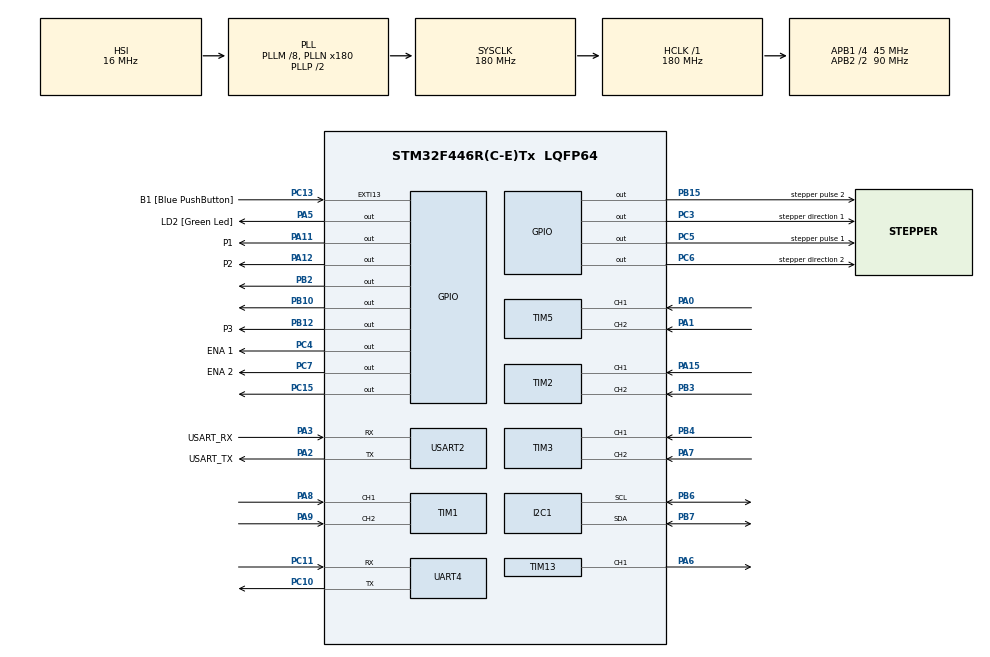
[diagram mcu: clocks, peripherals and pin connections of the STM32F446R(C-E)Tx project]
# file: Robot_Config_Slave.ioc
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Dma.Request0=UART4_RX
Dma.UART4_RX.0.Direction=DMA_PERIPH_TO_MEMORY
Dma.UART4_RX.0.FIFOMode=DMA_FIFOMODE_DISABLE
Dma.UART4_RX.0.Instance=DMA1_Stream2
Dma.UART4_RX.0.MemDataAlignment=DMA_MDATAALIGN_BYTE
Dma.UART4_RX.0.MemInc=DMA_MINC_ENABLE
Dma.UART4_RX.0.Mode=DMA_CIRCULAR
Dma.UART4_RX.0.PeriphDataAlignment=DMA_PDATAALIGN_BYTE
Dma.UART4_RX.0.PeriphInc=DMA_PINC_DISABLE
Dma.UART4_RX.0.Priority=DMA_PRIORITY_LOW
I2C1.I2C_Mode=I2C_Fast
Mcu.Family=STM32F4
Mcu.Name=STM32F446R(C-E)Tx
Mcu.Package=LQFP64
NVIC.DMA1_Stream2_IRQn=true\:0\:0\:false\:false\:true\:false\:true\:true
NVIC.PriorityGroup=NVIC_PRIORITYGROUP_0
NVIC.UART4_IRQn=true\:0\:0\:false\:false\:true\:true\:true\:true
PA0-WKUP.GPIO_PuPd=GPIO_PULLUP
PA0-WKUP.Signal=S_TIM5_CH1
PA1.GPIO_PuPd=GPIO_PULLUP
PA1.Signal=S_TIM5_CH2
PA11.GPIO_Label=P1
PA11.Signal=GPIO_Output
PA12.GPIO_Label=P2
PA12.Signal=GPIO_Output
PA13.GPIO_Label=TMS
PA13.Mode=Serial_Wire
PA13.Signal=SYS_JTMS-SWDIO
PA14.GPIO_Label=TCK
PA14.Mode=Serial_Wire
PA14.Signal=SYS_JTCK-SWCLK
PA15.GPIO_PuPd=GPIO_PULLUP
PA15.Signal=S_TIM2_CH1_ETR
PA2.GPIO_Label=USART_TX
PA2.Mode=Asynchronous
PA2.Signal=USART2_TX
PA3.GPIO_Label=USART_RX
PA3.Mode=Asynchronous
PA3.Signal=USART2_RX
PA5.GPIO_Label=LD2 [Green Led]
PA5.Signal=GPIO_Output
PA6.Signal=S_TIM13_CH1
PA7.GPIO_PuPd=GPIO_PULLUP
PA7.Signal=S_TIM3_CH2
PA8.GPIO_PuPd=GPIO_PULLUP
PA8.Signal=S_TIM1_CH1
PA9.GPIO_PuPd=GPIO_PULLUP
PA9.Signal=S_TIM1_CH2
PB10.Signal=GPIO_Output
PB12.GPIO_Label=P3
PB12.Signal=GPIO_Output
PB15.GPIO_Label=stepper pulse 2
PB15.Signal=GPIO_Output
PB2.Signal=GPIO_Output
PB3.GPIO_PuPd=GPIO_PULLUP
PB3.Signal=S_TIM2_CH2
PB4.GPIO_PuPd=GPIO_PULLUP
PB4.Signal=S_TIM3_CH1
PB6.Mode=I2C
PB6.Signal=I2C1_SCL
PB7.Mode=I2C
PB7.Signal=I2C1_SDA
PC10.Mode=Asynchronous
PC10.Signal=UART4_TX
PC11.Mode=Asynchronous
PC11.Signal=UART4_RX
PC13.GPIO_Label=B1 [Blue PushButton]
PC13.GPIO_ModeDefaultEXTI=GPIO_MODE_IT_FALLING
PC13.Signal=GPXTI13
PC14-OSC32_IN.Signal=RCC_OSC32_IN
PC15-OSC32_OUT.Signal=GPIO_Output
PC3.GPIO_Label=stepper direction 1
PC3.Signal=GPIO_Output
PC4.GPIO_Label=ENA 1
PC4.Signal=GPIO_Output
PC5.GPIO_Label=stepper pulse 1
PC5.Signal=GPIO_Output
PC6.GPIO_Label=stepper direction 2
PC6.Signal=GPIO_Output
PC7.GPIO_Label=ENA 2
PC7.Signal=GPIO_Output
PH0-OSC_IN.Mode=HSE-External-Oscillator
PH0-OSC_IN.Signal=RCC_OSC_IN
PH1-OSC_OUT.Mode=HSE-External-Oscillator
PH1-OSC_OUT.Signal=RCC_OSC_OUT
ProjectManager.HeapSize=0x200
ProjectManager.StackSize=0x400
ProjectManager.TargetToolchain=STM32CubeIDE
RCC.48MHZClocksFreq_Value=84000000
RCC.AHBFreq_Value=180000000
RCC.APB1CLKDivider=RCC_HCLK_DIV4
RCC.APB1Freq_Value=45000000
RCC.APB1TimFreq_Value=90000000
RCC.APB2CLKDivider=RCC_HCLK_DIV2
RCC.APB2Freq_Value=90000000
RCC.APB2TimFreq_Value=180000000
RCC.CortexFreq_Value=180000000
RCC.FLatency-AdvancedSettings=FLASH_LATENCY_5
RCC.HCLKFreq_Value=180000000
RCC.HSE_VALUE=8000000
RCC.HSI_VALUE=16000000
RCC.PLLM=8
RCC.PLLN=180
RCC.SYSCLKFreq_VALUE=180000000
RCC.SYSCLKSource=RCC_SYSCLKSOURCE_PLLCLK
RCC.USBFreq_Value=180000000
RCC.VCOOutputFreq_Value=360000000
SH.S_TIM13_CH1.0=TIM13_CH1,PWM Generation1 CH1
SH.S_TIM1_CH1.0=TIM1_CH1,Encoder_Interface
SH.S_TIM1_CH2.0=TIM1_CH2,Encoder_Interface
SH.S_TIM2_CH1_ETR.0=TIM2_CH1,Encoder_Interface
SH.S_TIM2_CH2.0=TIM2_CH2,Encoder_Interface
SH.S_TIM3_CH1.0=TIM3_CH1,Encoder_Interface
SH.S_TIM3_CH2.0=TIM3_CH2,Encoder_Interface
SH.S_TIM5_CH1.0=TIM5_CH1,Encoder_Interface
SH.S_TIM5_CH2.0=TIM5_CH2,Encoder_Interface
TIM13.Channel=TIM_CHANNEL_1
TIM13.Period=999
TIM13.Prescaler=179
TIM8.Channel-PWM\ Generation1\ CH1=TIM_CHANNEL_1
TIM8.Period=1000-1
TIM8.Prescaler=180-1
UART4.VirtualMode=Asynchronous
USART2.VirtualMode=VM_ASYNC
VP_TIM13_VS_ClockSourceINT.Mode=Enable_Timer
VP_TIM8_VS_ClockSourceINT.Mode=Internal
board=NUCLEO-F446RE

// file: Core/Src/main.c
/* USER CODE BEGIN Header */
/**
 ******************************************************************************
 * @file           : main.c
 * @brief          : Main program body
 ******************************************************************************
 * @attention
 *
 * Copyright (c) 2025 STMicroelectronics.
 * All rights reserved.
 *
 * This software is licensed under terms that can be found in the LICENSE file
 * in the root directory of this software component.
 * If no LICENSE file comes with this software, it is provided AS-IS.
 *
 ******************************************************************************
 */
/* USER CODE END Header */
#include "main.h"

I2C_HandleTypeDef hi2c1;

TIM_HandleTypeDef htim1;
TIM_HandleTypeDef htim2;
TIM_HandleTypeDef htim3;
TIM_HandleTypeDef htim5;
TIM_HandleTypeDef htim8;
TIM_HandleTypeDef htim13;

UART_HandleTypeDef huart4;
UART_HandleTypeDef huart2;
DMA_HandleTypeDef hdma_uart4_rx;

/* USER CODE BEGIN PV */
// communication buffer
char rxbuff[14];

// controller
int32_t cro, squ, tri, cir, up, down, left, right, ll1, rr1, ll2, rr2, rL, rR;

// stepper
static uint32_t last_step_time = 0;
static uint32_t last_step_time1 = 0;
static int step_state = 0;
static int step_state1 = 0;
static int direction1 = 1;
int step_delay = 1;
int step_delay1 = 5;
static int stepper_running = 0;  // Toggle flag
static int stepper_running1 = 0;  // Toggle flag
static int ebike_running = 0;  // Toggle flag
static int prev_cir = 0;
static int prev_tri = 0;
static int prev_cro = 0;
static int prev_ll1 = 0;
static int prev_rr1 = 0;

// imu
float yaw = 0, pitch = 0, q0 = 0, q1 = 0, q2 = 0, q3 = 0; //yaw and pitched are physically interchanged because of imu orientation

// odometry
volatile float x = 0.0f; // mm
volatile float y = 0.0f; // mm`
volatile float theta = 0.0f; // radians

// Global variables
float x_global = 0.0f;      // Global X position (meters)
float y_global = 0.0f;      // Global Y position (meters)
/* USER CODE END PV */

void SystemClock_Config(void);
static void MX_GPIO_Init(void);
static void MX_DMA_Init(void);
static void MX_USART2_UART_Init(void);
static void MX_UART4_Init(void);
static void MX_TIM1_Init(void);
static void MX_TIM8_Init(void);
static void MX_I2C1_Init(void);
static void MX_TIM5_Init(void);
static void MX_TIM13_Init(void);
static void MX_TIM2_Init(void);
static void MX_TIM3_Init(void);

/* USER CODE BEGIN 0 */
void HAL_UART_RxCpltCallback(UART_HandleTypeDef *huart) {
	HAL_UART_Receive_DMA(&huart4, rxbuff, 14);
}
/* USER CODE END 0 */

int main(void)
{

  /* MCU Configuration--------------------------------------------------------*/

  /* Reset of all peripherals, Initializes the Flash interface and the Systick. */
  HAL_Init();

  /* Configure the system clock */
  SystemClock_Config();

  /* Initialize all configured peripherals */
  MX_GPIO_Init();
  MX_DMA_Init();
  MX_USART2_UART_Init();
  MX_UART4_Init();
  MX_TIM1_Init();
  MX_TIM8_Init();
  MX_I2C1_Init();
  MX_TIM5_Init();
  MX_TIM13_Init();
  MX_TIM2_Init();
  MX_TIM3_Init();
  /* USER CODE BEGIN 2 */
	HAL_UART_Receive_DMA(&huart4, rxbuff, 14);
  /* USER CODE END 2 */

  /* Infinite loop */
	while (1) {

    /* USER CODE BEGIN 3 */
		/* Communication */
		// reading buffer
//		cro = (int8_t) rxbuff[0];
//		squ = (int8_t) rxbuff[1];
//		tri = (int8_t) rxbuff[2];
//		cir = (int8_t) rxbuff[3];
//		up = (int8_t) rxbuff[4];
//		down = (int8_t) rxbuff[5];
//		left = (int8_t) rxbuff[6];
//		right = (int8_t) rxbuff[7];
//		ll1 = (int8_t) rxbuff[8];
//		rr1 = (int8_t) rxbuff[9];
//		ll2 = (int8_t) rxbuff[10];
//		rr2 = (int8_t) rxbuff[11];
//		rL = (int8_t) rxbuff[12];
//		rR = (int8_t) rxbuff[13];
//
//		// print buffer
//		printf("%d %d %d %d %d %d %d %d %d %d %d %d %d\r\n", cro, squ, tri, cir, up, down, left, right, ll1, rr1, ll2, rr2, rL, rR);

		/* Stepper */
//		stepper_running  = 1;
//		stepper_running1 = 1;
		direction1 = 1;
		HAL_GPIO_WritePin(GPIOC, GPIO_PIN_3,
				direction1 ? GPIO_PIN_SET : GPIO_PIN_RESET);
		HAL_GPIO_WritePin(GPIOC, GPIO_PIN_6,
				!direction1 ? GPIO_PIN_SET : GPIO_PIN_RESET);

		if (ll1 == 1 && !prev_ll1) {  // LL1 button pressed
			direction1 = 1;  // Set to Anti-clockwise
			stepper_running = 1;
			stepper_running1 = 1;
		}
		if (rr1 == 1 && !prev_rr1) {  // RR1 button pressed
			direction1 = 0;  // Set to Clockwise
			stepper_running = 1;
			stepper_running1 = 1;
		}
		if (cir == 1 && !prev_cir) {
			stepper_running = 0;
			stepper_running1 = 0;
		}
		prev_ll1 = ll1;
		prev_rr1 = rr1;
		prev_cir = cir;
		if (stepper_running && (HAL_GetTick() - last_step_time) >= step_delay) {
			last_step_time = HAL_GetTick(); // Update last step time

			if (step_state == 0) {
				HAL_GPIO_WritePin(GPIOC, GPIO_PIN_5, GPIO_PIN_SET); // Step HIGH
				step_state = 1;
			} else {
				HAL_GPIO_WritePin(GPIOC, GPIO_PIN_5, GPIO_PIN_RESET); // Step LOW
				step_state = 0;
			}
		}
		if (stepper_running1
				&& (HAL_GetTick() - last_step_time1) >= step_delay1) {
			last_step_time1 = HAL_GetTick(); // Update last step time

			if (step_state1 == 0) {
				HAL_GPIO_WritePin(GPIOB, GPIO_PIN_15, GPIO_PIN_SET); // Step HIGH
				step_state1 = 1;
			} else {
				HAL_GPIO_WritePin(GPIOB, GPIO_PIN_15, GPIO_PIN_RESET); // Step LOW
				step_state1 = 0;
			}
		}

		/* Dribbling */
		if (tri == 1 && !prev_tri) {
			ebike_running = 1;
		}
		if (cro == 1 && !prev_cro) {  // cro button pressed
			printf("cross pressed");
			direction1 = 0;  // Set to Clockwise
			ebike_running = 0;
		}
		prev_tri = tri;
		prev_cro = cro;
		if (ebike_running) {
			HAL_GPIO_WritePin(GPIOC, GPIO_PIN_15, 1);
			TIM13->CCR1 = (1350 * 999) / 3500;  //rpm 2000 test
			HAL_TIM_PWM_Start(&htim13, TIM_CHANNEL_1);
		} else {
			//			HAL_GPIO_WritePin(GPIOC, GPIO_PIN_15, 1);
			TIM13->CCR1 = (0 * 999) / 3500;
			HAL_TIM_PWM_Start(&htim13, TIM_CHANNEL_1);
		}
	}
  /* USER CODE END 3 */
}

void SystemClock_Config(void)
{
  RCC_OscInitTypeDef RCC_OscInitStruct = {0};
  RCC_ClkInitTypeDef RCC_ClkInitStruct = {0};

  /** Configure the main internal regulator output voltage
  */
  __HAL_RCC_PWR_CLK_ENABLE();
  __HAL_PWR_VOLTAGESCALING_CONFIG(PWR_REGULATOR_VOLTAGE_SCALE1);

  /** Initializes the RCC Oscillators according to the specified parameters
  * in the RCC_OscInitTypeDef structure.
  */
  RCC_OscInitStruct.OscillatorType = RCC_OSCILLATORTYPE_HSI;
  RCC_OscInitStruct.HSIState = RCC_HSI_ON;
  RCC_OscInitStruct.HSICalibrationValue = RCC_HSICALIBRATION_DEFAULT;
  RCC_OscInitStruct.PLL.PLLState = RCC_PLL_ON;
  RCC_OscInitStruct.PLL.PLLSource = RCC_PLLSOURCE_HSI;
  RCC_OscInitStruct.PLL.PLLM = 8;
  RCC_OscInitStruct.PLL.PLLN = 180;
  RCC_OscInitStruct.PLL.PLLP = RCC_PLLP_DIV2;
  RCC_OscInitStruct.PLL.PLLQ = 2;
  RCC_OscInitStruct.PLL.PLLR = 2;
  if (HAL_RCC_OscConfig(&RCC_OscInitStruct) != HAL_OK)
  {
    Error_Handler();
  }

  /** Activate the Over-Drive mode
  */
  if (HAL_PWREx_EnableOverDrive() != HAL_OK)
  {
    Error_Handler();
  }

  /** Initializes the CPU, AHB and APB buses clocks
  */
  RCC_ClkInitStruct.ClockType = RCC_CLOCKTYPE_HCLK|RCC_CLOCKTYPE_SYSCLK
                              |RCC_CLOCKTYPE_PCLK1|RCC_CLOCKTYPE_PCLK2;
  RCC_ClkInitStruct.SYSCLKSource = RCC_SYSCLKSOURCE_PLLCLK;
  RCC_ClkInitStruct.AHBCLKDivider = RCC_SYSCLK_DIV1;
  RCC_ClkInitStruct.APB1CLKDivider = RCC_HCLK_DIV4;
  RCC_ClkInitStruct.APB2CLKDivider = RCC_HCLK_DIV2;

  if (HAL_RCC_ClockConfig(&RCC_ClkInitStruct, FLASH_LATENCY_5) != HAL_OK)
  {
    Error_Handler();
  }
}

static void MX_I2C1_Init(void)
{

  hi2c1.Instance = I2C1;
  hi2c1.Init.ClockSpeed = 400000;
  hi2c1.Init.DutyCycle = I2C_DUTYCYCLE_2;
  hi2c1.Init.OwnAddress1 = 0;
  hi2c1.Init.AddressingMode = I2C_ADDRESSINGMODE_7BIT;
  hi2c1.Init.DualAddressMode = I2C_DUALADDRESS_DISABLE;
  hi2c1.Init.OwnAddress2 = 0;
  hi2c1.Init.GeneralCallMode = I2C_GENERALCALL_DISABLE;
  hi2c1.Init.NoStretchMode = I2C_NOSTRETCH_DISABLE;
  if (HAL_I2C_Init(&hi2c1) != HAL_OK)
  {
    Error_Handler();
  }

}

static void MX_TIM1_Init(void)
{

  TIM_Encoder_InitTypeDef sConfig = {0};
  TIM_MasterConfigTypeDef sMasterConfig = {0};

  htim1.Instance = TIM1;
  htim1.Init.Prescaler = 0;
  htim1.Init.CounterMode = TIM_COUNTERMODE_UP;
  htim1.Init.Period = 65535;
  htim1.Init.ClockDivision = TIM_CLOCKDIVISION_DIV1;
  htim1.Init.RepetitionCounter = 0;
  htim1.Init.AutoReloadPreload = TIM_AUTORELOAD_PRELOAD_DISABLE;
  sConfig.EncoderMode = TIM_ENCODERMODE_TI1;
  sConfig.IC1Polarity = TIM_ICPOLARITY_RISING;
  sConfig.IC1Selection = TIM_ICSELECTION_DIRECTTI;
  sConfig.IC1Prescaler = TIM_ICPSC_DIV1;
  sConfig.IC1Filter = 0;
  sConfig.IC2Polarity = TIM_ICPOLARITY_RISING;
  sConfig.IC2Selection = TIM_ICSELECTION_DIRECTTI;
  sConfig.IC2Prescaler = TIM_ICPSC_DIV1;
  sConfig.IC2Filter = 0;
  if (HAL_TIM_Encoder_Init(&htim1, &sConfig) != HAL_OK)
  {
    Error_Handler();
  }
  sMasterConfig.MasterOutputTrigger = TIM_TRGO_RESET;
  sMasterConfig.MasterSlaveMode = TIM_MASTERSLAVEMODE_DISABLE;
  if (HAL_TIMEx_MasterConfigSynchronization(&htim1, &sMasterConfig) != HAL_OK)
  {
    Error_Handler();
  }

}

static void MX_TIM2_Init(void)
{

  TIM_Encoder_InitTypeDef sConfig = {0};
  TIM_MasterConfigTypeDef sMasterConfig = {0};

  htim2.Instance = TIM2;
  htim2.Init.Prescaler = 0;
  htim2.Init.CounterMode = TIM_COUNTERMODE_UP;
  htim2.Init.Period = 4294967295;
  htim2.Init.ClockDivision = TIM_CLOCKDIVISION_DIV1;
  htim2.Init.AutoReloadPreload = TIM_AUTORELOAD_PRELOAD_DISABLE;
  sConfig.EncoderMode = TIM_ENCODERMODE_TI1;
  sConfig.IC1Polarity = TIM_ICPOLARITY_RISING;
  sConfig.IC1Selection = TIM_ICSELECTION_DIRECTTI;
  sConfig.IC1Prescaler = TIM_ICPSC_DIV1;
  sConfig.IC1Filter = 0;
  sConfig.IC2Polarity = TIM_ICPOLARITY_RISING;
  sConfig.IC2Selection = TIM_ICSELECTION_DIRECTTI;
  sConfig.IC2Prescaler = TIM_ICPSC_DIV1;
  sConfig.IC2Filter = 0;
  if (HAL_TIM_Encoder_Init(&htim2, &sConfig) != HAL_OK)
  {
    Error_Handler();
  }
  sMasterConfig.MasterOutputTrigger = TIM_TRGO_RESET;
  sMasterConfig.MasterSlaveMode = TIM_MASTERSLAVEMODE_DISABLE;
  if (HAL_TIMEx_MasterConfigSynchronization(&htim2, &sMasterConfig) != HAL_OK)
  {
    Error_Handler();
  }

}

static void MX_TIM3_Init(void)
{

  TIM_Encoder_InitTypeDef sConfig = {0};
  TIM_MasterConfigTypeDef sMasterConfig = {0};

  htim3.Instance = TIM3;
  htim3.Init.Prescaler = 0;
  htim3.Init.CounterMode = TIM_COUNTERMODE_UP;
  htim3.Init.Period = 65535;
  htim3.Init.ClockDivision = TIM_CLOCKDIVISION_DIV1;
  htim3.Init.AutoReloadPreload = TIM_AUTORELOAD_PRELOAD_DISABLE;
  sConfig.EncoderMode = TIM_ENCODERMODE_TI1;
  sConfig.IC1Polarity = TIM_ICPOLARITY_RISING;
  sConfig.IC1Selection = TIM_ICSELECTION_DIRECTTI;
  sConfig.IC1Prescaler = TIM_ICPSC_DIV1;
  sConfig.IC1Filter = 0;
  sConfig.IC2Polarity = TIM_ICPOLARITY_RISING;
  sConfig.IC2Selection = TIM_ICSELECTION_DIRECTTI;
  sConfig.IC2Prescaler = TIM_ICPSC_DIV1;
  sConfig.IC2Filter = 0;
  if (HAL_TIM_Encoder_Init(&htim3, &sConfig) != HAL_OK)
  {
    Error_Handler();
  }
  sMasterConfig.MasterOutputTrigger = TIM_TRGO_RESET;
  sMasterConfig.MasterSlaveMode = TIM_MASTERSLAVEMODE_DISABLE;
  if (HAL_TIMEx_MasterConfigSynchronization(&htim3, &sMasterConfig) != HAL_OK)
  {
    Error_Handler();
  }

}

static void MX_TIM5_Init(void)
{

  TIM_Encoder_InitTypeDef sConfig = {0};
  TIM_MasterConfigTypeDef sMasterConfig = {0};

  htim5.Instance = TIM5;
  htim5.Init.Prescaler = 0;
  htim5.Init.CounterMode = TIM_COUNTERMODE_UP;
  htim5.Init.Period = 4294967295;
  htim5.Init.ClockDivision = TIM_CLOCKDIVISION_DIV1;
  htim5.Init.AutoReloadPreload = TIM_AUTORELOAD_PRELOAD_DISABLE;
  sConfig.EncoderMode = TIM_ENCODERMODE_TI1;
  sConfig.IC1Polarity = TIM_ICPOLARITY_RISING;
  sConfig.IC1Selection = TIM_ICSELECTION_DIRECTTI;
  sConfig.IC1Prescaler = TIM_ICPSC_DIV1;
  sConfig.IC1Filter = 0;
  sConfig.IC2Polarity = TIM_ICPOLARITY_RISING;
  sConfig.IC2Selection = TIM_ICSELECTION_DIRECTTI;
  sConfig.IC2Prescaler = TIM_ICPSC_DIV1;
  sConfig.IC2Filter = 0;
  if (HAL_TIM_Encoder_Init(&htim5, &sConfig) != HAL_OK)
  {
    Error_Handler();
  }
  sMasterConfig.MasterOutputTrigger = TIM_TRGO_RESET;
  sMasterConfig.MasterSlaveMode = TIM_MASTERSLAVEMODE_DISABLE;
  if (HAL_TIMEx_MasterConfigSynchronization(&htim5, &sMasterConfig) != HAL_OK)
  {
    Error_Handler();
  }

}

static void MX_TIM8_Init(void)
{

  TIM_ClockConfigTypeDef sClockSourceConfig = {0};
  TIM_MasterConfigTypeDef sMasterConfig = {0};

  htim8.Instance = TIM8;
  htim8.Init.Prescaler = 180-1;
  htim8.Init.CounterMode = TIM_COUNTERMODE_UP;
  htim8.Init.Period = 1000-1;
  htim8.Init.ClockDivision = TIM_CLOCKDIVISION_DIV1;
  htim8.Init.RepetitionCounter = 0;
  htim8.Init.AutoReloadPreload = TIM_AUTORELOAD_PRELOAD_DISABLE;
  if (HAL_TIM_Base_Init(&htim8) != HAL_OK)
  {
    Error_Handler();
  }
  sClockSourceConfig.ClockSource = TIM_CLOCKSOURCE_INTERNAL;
  if (HAL_TIM_ConfigClockSource(&htim8, &sClockSourceConfig) != HAL_OK)
  {
    Error_Handler();
  }
  sMasterConfig.MasterOutputTrigger = TIM_TRGO_RESET;
  sMasterConfig.MasterSlaveMode = TIM_MASTERSLAVEMODE_DISABLE;
  if (HAL_TIMEx_MasterConfigSynchronization(&htim8, &sMasterConfig) != HAL_OK)
  {
    Error_Handler();
  }

}

static void MX_TIM13_Init(void)
{

  TIM_OC_InitTypeDef sConfigOC = {0};

  htim13.Instance = TIM13;
  htim13.Init.Prescaler = 179;
  htim13.Init.CounterMode = TIM_COUNTERMODE_UP;
  htim13.Init.Period = 999;
  htim13.Init.ClockDivision = TIM_CLOCKDIVISION_DIV1;
  htim13.Init.AutoReloadPreload = TIM_AUTORELOAD_PRELOAD_DISABLE;
  if (HAL_TIM_Base_Init(&htim13) != HAL_OK)
  {
    Error_Handler();
  }
  if (HAL_TIM_PWM_Init(&htim13) != HAL_OK)
  {
    Error_Handler();
  }
  sConfigOC.OCMode = TIM_OCMODE_PWM1;
  sConfigOC.Pulse = 0;
  sConfigOC.OCPolarity = TIM_OCPOLARITY_HIGH;
  sConfigOC.OCFastMode = TIM_OCFAST_DISABLE;
  if (HAL_TIM_PWM_ConfigChannel(&htim13, &sConfigOC, TIM_CHANNEL_1) != HAL_OK)
  {
    Error_Handler();
  }
  HAL_TIM_MspPostInit(&htim13);

}

static void MX_UART4_Init(void)
{

  huart4.Instance = UART4;
  huart4.Init.BaudRate = 115200;
  huart4.Init.WordLength = UART_WORDLENGTH_8B;
  huart4.Init.StopBits = UART_STOPBITS_1;
  huart4.Init.Parity = UART_PARITY_NONE;
  huart4.Init.Mode = UART_MODE_TX_RX;
  huart4.Init.HwFlowCtl = UART_HWCONTROL_NONE;
  huart4.Init.OverSampling = UART_OVERSAMPLING_16;
  if (HAL_UART_Init(&huart4) != HAL_OK)
  {
    Error_Handler();
  }

}

static void MX_USART2_UART_Init(void)
{

  huart2.Instance = USART2;
  huart2.Init.BaudRate = 115200;
  huart2.Init.WordLength = UART_WORDLENGTH_8B;
  huart2.Init.StopBits = UART_STOPBITS_1;
  huart2.Init.Parity = UART_PARITY_NONE;
  huart2.Init.Mode = UART_MODE_TX_RX;
  huart2.Init.HwFlowCtl = UART_HWCONTROL_NONE;
  huart2.Init.OverSampling = UART_OVERSAMPLING_16;
  if (HAL_UART_Init(&huart2) != HAL_OK)
  {
    Error_Handler();
  }

}

static void MX_DMA_Init(void)
{

  /* DMA controller clock enable */
  __HAL_RCC_DMA1_CLK_ENABLE();

  /* DMA interrupt init */
  /* DMA1_Stream2_IRQn interrupt configuration */
  HAL_NVIC_SetPriority(DMA1_Stream2_IRQn, 0, 0);
  HAL_NVIC_EnableIRQ(DMA1_Stream2_IRQn);

}

static void MX_GPIO_Init(void)
{
  GPIO_InitTypeDef GPIO_InitStruct = {0};

  /* GPIO Ports Clock Enable */
  __HAL_RCC_GPIOC_CLK_ENABLE();
  __HAL_RCC_GPIOH_CLK_ENABLE();
  __HAL_RCC_GPIOA_CLK_ENABLE();
  __HAL_RCC_GPIOB_CLK_ENABLE();

  /*Configure GPIO pin Output Level */
  HAL_GPIO_WritePin(GPIOC, GPIO_PIN_15|stepper_direction_1_Pin|ENA_1_Pin|stepper_pulse_1_Pin
                          |stepper_direction_2_Pin|ENA_2_Pin, GPIO_PIN_RESET);

  /*Configure GPIO pin Output Level */
  HAL_GPIO_WritePin(GPIOA, LD2_Pin|P1_Pin|P2_Pin, GPIO_PIN_RESET);

  /*Configure GPIO pin Output Level */
  HAL_GPIO_WritePin(GPIOB, GPIO_PIN_2|GPIO_PIN_10|P3_Pin|stepper_pulse_2_Pin, GPIO_PIN_RESET);

  /*Configure GPIO pin : B1_Pin */
  GPIO_InitStruct.Pin = B1_Pin;
  GPIO_InitStruct.Mode = GPIO_MODE_IT_FALLING;
  GPIO_InitStruct.Pull = GPIO_NOPULL;
  HAL_GPIO_Init(B1_GPIO_Port, &GPIO_InitStruct);

  /*Configure GPIO pins : PC15 stepper_direction_1_Pin ENA_1_Pin stepper_pulse_1_Pin
                           stepper_direction_2_Pin ENA_2_Pin */
  GPIO_InitStruct.Pin = GPIO_PIN_15|stepper_direction_1_Pin|ENA_1_Pin|stepper_pulse_1_Pin
                          |stepper_direction_2_Pin|ENA_2_Pin;
  GPIO_InitStruct.Mode = GPIO_MODE_OUTPUT_PP;
  GPIO_InitStruct.Pull = GPIO_NOPULL;
  GPIO_InitStruct.Speed = GPIO_SPEED_FREQ_LOW;
  HAL_GPIO_Init(GPIOC, &GPIO_InitStruct);

  /*Configure GPIO pins : LD2_Pin P1_Pin P2_Pin */
  GPIO_InitStruct.Pin = LD2_Pin|P1_Pin|P2_Pin;
  GPIO_InitStruct.Mode = GPIO_MODE_OUTPUT_PP;
  GPIO_InitStruct.Pull = GPIO_NOPULL;
  GPIO_InitStruct.Speed = GPIO_SPEED_FREQ_LOW;
  HAL_GPIO_Init(GPIOA, &GPIO_InitStruct);

  /*Configure GPIO pins : PB2 PB10 P3_Pin stepper_pulse_2_Pin */
  GPIO_InitStruct.Pin = GPIO_PIN_2|GPIO_PIN_10|P3_Pin|stepper_pulse_2_Pin;
  GPIO_InitStruct.Mode = GPIO_MODE_OUTPUT_PP;
  GPIO_InitStruct.Pull = GPIO_NOPULL;
  GPIO_InitStruct.Speed = GPIO_SPEED_FREQ_LOW;
  HAL_GPIO_Init(GPIOB, &GPIO_InitStruct);

}

/* USER CODE BEGIN 4 */
int _write(int file, char *ptr, int len) {
	HAL_UART_Transmit(&huart2, (uint8_t*) ptr, len, HAL_MAX_DELAY);
	return len;
}
/* USER CODE END 4 */

void Error_Handler(void)
{
	__disable_irq();
	while (1) {
	}
}
